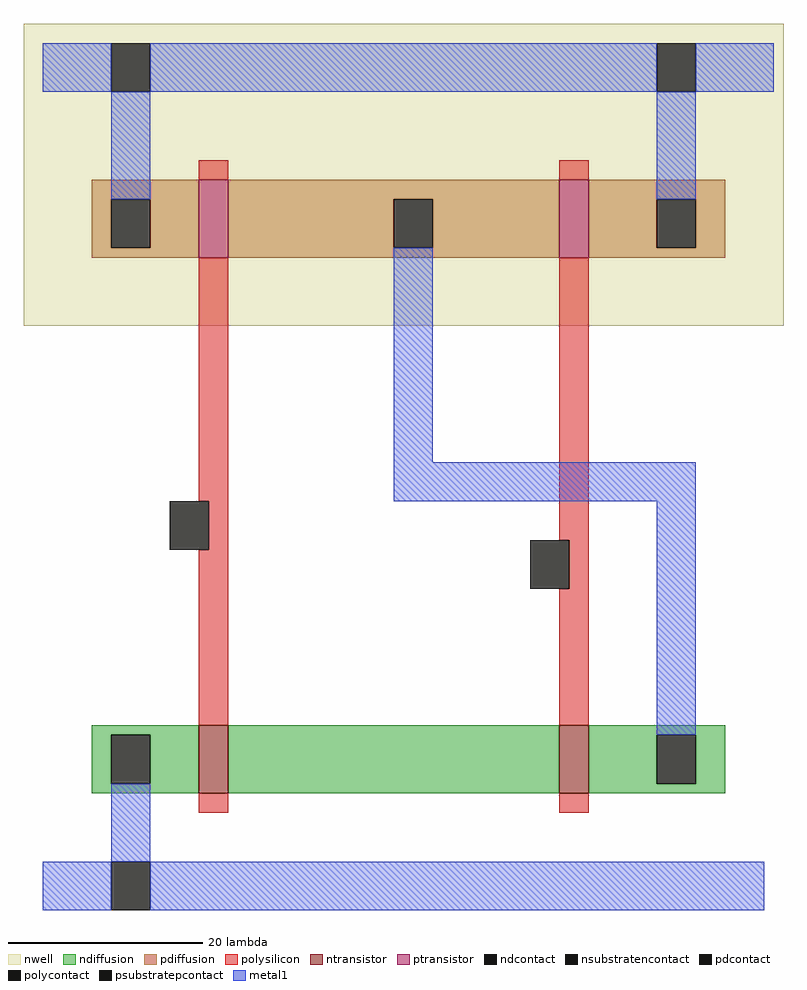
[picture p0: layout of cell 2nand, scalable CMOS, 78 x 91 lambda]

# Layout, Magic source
magic
tech scmos
<< nwell >>
rect -41 -12 37 19
<< polysilicon >>
rect -23 3 -20 5
rect 14 3 17 5
rect -23 -30 -20 -5
rect -22 -35 -20 -30
rect 14 -34 17 -5
rect -23 -53 -20 -35
rect 15 -39 17 -34
rect 14 -53 17 -39
rect -23 -62 -20 -60
rect 14 -62 17 -60
<< ndiffusion >>
rect -34 -54 -23 -53
rect -34 -59 -32 -54
rect -28 -59 -23 -54
rect -34 -60 -23 -59
rect -20 -60 14 -53
rect 17 -54 31 -53
rect 17 -59 24 -54
rect 28 -59 31 -54
rect 17 -60 31 -59
<< pdiffusion >>
rect -34 1 -23 3
rect -34 -4 -32 1
rect -28 -4 -23 1
rect -34 -5 -23 -4
rect -20 1 14 3
rect -20 -4 -3 1
rect 1 -4 14 1
rect -20 -5 14 -4
rect 17 1 31 3
rect 17 -4 24 1
rect 28 -4 31 1
rect 17 -5 31 -4
<< metal1 >>
rect -39 12 -32 17
rect -28 12 24 17
rect 28 12 36 17
rect -32 1 -28 12
rect 24 1 28 12
rect -3 -26 1 -4
rect -3 -30 28 -26
rect 24 -54 28 -30
rect -32 -67 -28 -59
rect -39 -72 -32 -67
rect -28 -72 35 -67
<< ntransistor >>
rect -23 -60 -20 -53
rect 14 -60 17 -53
<< ptransistor >>
rect -23 -5 -20 3
rect 14 -5 17 3
<< polycontact >>
rect -26 -35 -22 -30
rect 11 -39 15 -34
<< ndcontact >>
rect -32 -59 -28 -54
rect 24 -59 28 -54
<< pdcontact >>
rect -32 -4 -28 1
rect -3 -4 1 1
rect 24 -4 28 1
<< psubstratepcontact >>
rect -32 -72 -28 -67
<< nsubstratencontact >>
rect -32 12 -28 17
rect 24 12 28 17
<< end >>
